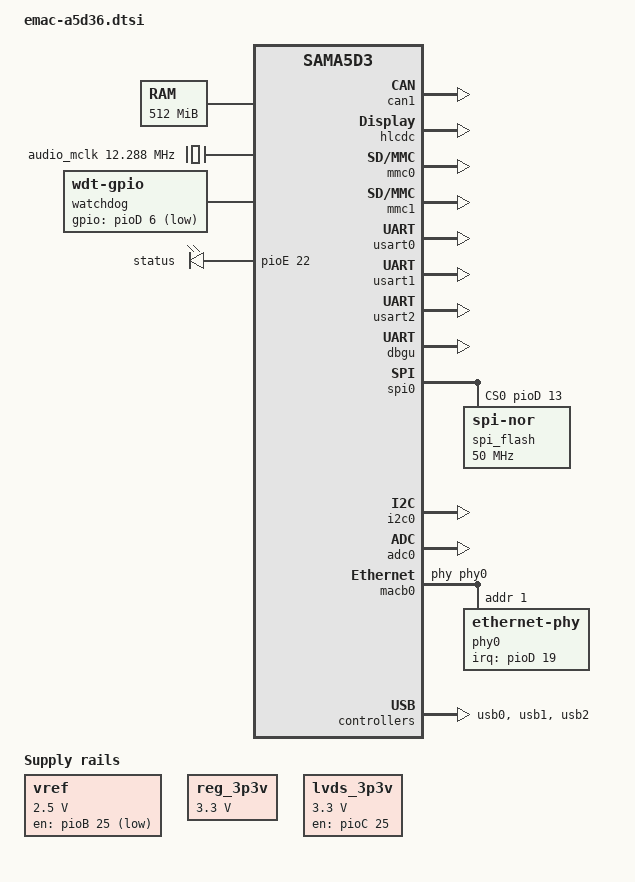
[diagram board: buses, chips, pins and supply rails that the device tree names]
/*
 * som-a5d36.dtsi - Device Tree inclue file for the SOM-A5D36 with SOM-2xx carriers.
 *
 * Copyright (C) 2018 EMAC Inc.
 *
 * This program is free software; you can redistribute it and/or modify
 * it under the terms of the GNU General Public License version 2 as
 * published by the Free Software Foundation.
 */

#include "sama5d36.dtsi"


/ {
	compatible = "emac,soma5d36", "atmel,sama5d3", "atmel,sama5";
	
	chosen {
		u-boot,dm-pre-reloc;
		stdout-path = &dbgu;
	};

	aliases {
		spi0 = &spi0;
	};

	memory {
		reg = <0x20000000 0x20000000>;
	};

	clocks {
		#address-cells = <1>;
		#size-cells = <1>;
		ranges;

		slow_xtal {
			clock-frequency = <32768>;
		};

		main_xtal {
			clock-frequency = <12000000>;
		};

		main_clock: clock@0 {
			compatible = "atmel,osc", "fixed-clock";
			clock-frequency = <12000000>;
		};

		audio_mclk: audio_mclk {
			compatible = "fixed-clock";
			#clock-cells = <0>;
			clock-frequency = <12288000>;
			clock-output-names = "mclk";
		};
	};

	regulators {
		compatible = "simple-bus";
		#address-cells = <1>;
		#size-cells = <0>;

		vref: regulator@0 {
			compatible = "regulator-fixed";
			reg = <0>;
			regulator-name = "vref";
			regulator-min-microvolt = <2500000>;
			regulator-max-microvolt = <2500000>;
			regulator-always-on;
			gpio = <&pioB 25 GPIO_ACTIVE_HIGH>;
		};

		reg_3p3v: regulator@1 {
			compatible = "regulator-fixed";
			reg = <1>;
			regulator-name = "reg_3p3v";
			regulator-min-microvolt = <3300000>;
			regulator-max-microvolt = <3300000>;
			regulator-always-on;
		};

		lvds_3p3v: lvds_3p3v_reg {
			compatible = "regulator-fixed";
			reg = <3>;
			regulator-name = "LVDS 3P3V";
			regulator-min-microvolt = <3300000>;
			regulator-max-microvolt = <3300000>;
			regulator-boot-on;
			enable-active-high;
			gpio = <&pioC 25 GPIO_ACTIVE_LOW>;
		};
	};

	ahb {
		apb {
			pinctrl@fffff200 {
				pck0 {
					pinctrl_pck0: pck0_as_clk_mck {
						atmel,pins =
							<AT91_PIOD 30 AT91_PERIPH_B AT91_PINCTRL_NONE>;
					};
				};

				usba {
					pinctrl_usba_vbus: usba_vbus {
						atmel,pins =
							<AT91_PIOC 27 AT91_PERIPH_GPIO AT91_PINCTRL_DEGLITCH>;
					};
				};

				ssc0 {
					pinctrl_ssc0_txrx: ssc0_txrx {
						atmel,pins =
							<AT91_PIOC 16 AT91_PERIPH_A AT91_PINCTRL_NONE	/* PC16 periph A TK0 */
							 AT91_PIOC 17 AT91_PERIPH_A AT91_PINCTRL_NONE	/* PC17 periph A TF0 */
							 AT91_PIOC 18 AT91_PERIPH_A AT91_PINCTRL_NONE	/* PC18 periph A TD0 */
							 AT91_PIOC 20 AT91_PERIPH_A AT91_PINCTRL_NONE	/* PC20 periph A RF0 */
							 AT91_PIOC 21 AT91_PERIPH_A AT91_PINCTRL_NONE>;	/* PC21 periph A RD0 */
					};
				};

				mmc1 {
					pinctrl_mmc1_cd_wp: mmc1_cd_wp {
						atmel,pins =
							<AT91_PIOC 5 AT91_PERIPH_GPIO AT91_PINCTRL_PULL_UP_DEGLITCH
							 AT91_PIOC 13 AT91_PERIPH_GPIO AT91_PINCTRL_PULL_UP_DEGLITCH
							 AT91_PIOC 14 AT91_PERIPH_GPIO AT91_PINCTRL_PULL_UP_DEGLITCH>;
					};
				};
				
				led {
					pinctrl_led: led-board {
						atmel,pins =
							<AT91_PIOE 22 AT91_PERIPH_GPIO AT91_PINCTRL_NONE>;
					};
				};
			};

			pmc: pmc@fffffc00 {
				periphck {
					usart1_clk: usart1_clk@13 {
						u-boot,dm-pre-reloc;
					};
				};
			};

			can1: can@f8010000 {
				status = "okay";
			};
			
			hlcdc: hlcdc@f0030000 {
				atmel,vl-bpix = <4>;
				atmel,output-mode = <24>;
				atmel,guard-time = <1>;
				pinctrl-names = "default";
				pinctrl-0 = <&pinctrl_lcd_base &pinctrl_lcd_pwm &pinctrl_lcd_rgb888>;
				status = "okay";
				u-boot,dm-pre-reloc;

				display-timings {
					u-boot,dm-pre-reloc;
					480x272 {
						clock-frequency = <24000000>;
						hactive = <480>;
						vactive = <272>;
						hsync-len = <45>;
						hfront-porch = <64>;
						hback-porch = <64>;
						vfront-porch = <22>;
						vback-porch = <21>;
						vsync-len = <1>;
						u-boot,dm-pre-reloc;
					};
				};
			};

			mmc0: mmc@f0000000 {
				pinctrl-names = "default";
				pinctrl-0 = <&pinctrl_mmc0_clk_cmd_dat0 &pinctrl_mmc0_dat1_3>;
				status = "okay";
				u-boot,dm-pre-reloc;
				slot@0 {
					reg = <0>;
					bus-width = <4>;
					non-removable;
				};
			};
			mmc1: mmc@f8000000 {
				pinctrl-names = "default";
				pinctrl-0 = <&pinctrl_mmc1_clk_cmd_dat0 &pinctrl_mmc1_dat1_3 &pinctrl_mmc1_cd_wp>;
				status = "okay";
				slot@0 {
					reg = <0>;
					bus-width = <4>;
				};
			};

			usart0: serial@f001c000 {
				dmas = <0>, <0>;	/*  Do not use DMA for usart0 */
				status = "okay";
			};

			usart1: serial@f0020000 {
				dmas = <0>, <0>;	/*  Do not use DMA for usart1 */
				pinctrl-names = "default";
				pinctrl-0 = <&pinctrl_usart1 &pinctrl_usart1_rts_cts>;
				status = "okay";
				u-boot,dm-pre-reloc;
			};

			usart2: serial@f8020000 {
				dmas = <0>, <0>;	/*  Do not use DMA for usart1 */
				pinctrl-names = "default";
				pinctrl-0 = <&pinctrl_usart2 &pinctrl_usart2_rts_cts>;
				status = "okay";
			};

			dbgu: serial@ffffee00 {
				dmas = <0>, <0>;	/*  Do not use DMA for dbgu */
				status = "okay";
				u-boot,dm-pre-reloc;
			};

			ssc0: ssc@f0008000 {
				#sound-dai-cells = <0>;
				pinctrl-names = "default";
				pinctrl-0 = <&pinctrl_ssc0_txrx>;
				status = "okay";
			};

			spi0: spi@f0004000 {
				dmas = <0>, <0>;	/*  Do not use DMA for spi0 */
				u-boot,dm-pre-reloc;
				cs-gpios = <&pioD 13 0>, <0>, <0>, <0>;
				status = "okay";
				spi_flash@0 {
					compatible = "jedec,spi-nor";
					spi-max-frequency = <50000000>;
					reg = <0>;
					u-boot,dm-pre-reloc;
				};
			};

			i2c0: i2c@f0014000 {
				status = "okay";
			};

			adc0: adc@f8018000 {
				pinctrl-names = "default";
				pinctrl-0 = <
					&pinctrl_adc0_ad0
					&pinctrl_adc0_ad1
					&pinctrl_adc0_ad2
					&pinctrl_adc0_ad3
					&pinctrl_adc0_ad4
					&pinctrl_adc0_ad5
					&pinctrl_adc0_ad6
					&pinctrl_adc0_ad7
					>;

				atmel,adc-vref = <2500>;
				atmel,adc-channels-used = <0xff>;
				atmel,adc-ts-wires = <4>;
				atmel,adc-ts-pressure-threshold = <10000>;
				status = "okay";
			};

			macb0: ethernet@f0028000 {
				status = "okay";
				phy-handle = <&phy0>;
				
				#address-cells = <1>;
				#size-cells = <0>;

				phy0: ethernet-phy@1 {
					reg = <0x1>;
					interrupt-parent = <&pioD>;
					interrupts = <19 IRQ_TYPE_EDGE_FALLING>;
					txen-skew-ps = <800>;
					txc-skew-ps = <3000>;
					rxdv-skew-ps = <400>;
					rxc-skew-ps = <3000>;
					rxd0-skew-ps = <400>;
					rxd1-skew-ps = <400>;
					rxd2-skew-ps = <400>;
					rxd3-skew-ps = <400>;
				};
			};
		};

		usb0: gadget@00500000 {
			atmel,vbus-gpio = <&pioC 27 GPIO_ACTIVE_HIGH>;
			pinctrl-names = "default";
			pinctrl-0 = <&pinctrl_usba_vbus>;
			status = "okay";
		};

		usb1: ohci@00600000 {
			num-ports = <3>;
			status = "okay";
		};

		usb2: ehci@00700000 {
			status = "okay";
		};
	};
	
	watchdog {
		/* MAX6747 */
		compatible = "linux,wdt-gpio";
		gpios = <&pioD 6 GPIO_ACTIVE_LOW>;
		hw_algo = "toggle";
		hw_margin_ms = <1000>;
	};

	gpio-leds {
		compatible = "gpio-leds";
		pinctrl-names = "default";
		pinctrl-0 = <&pinctrl_led>;
		status {
			label = "status";
			gpios = <&pioE 22 GPIO_ACTIVE_HIGH>;
			default-state = "on";
		};
	};
};
